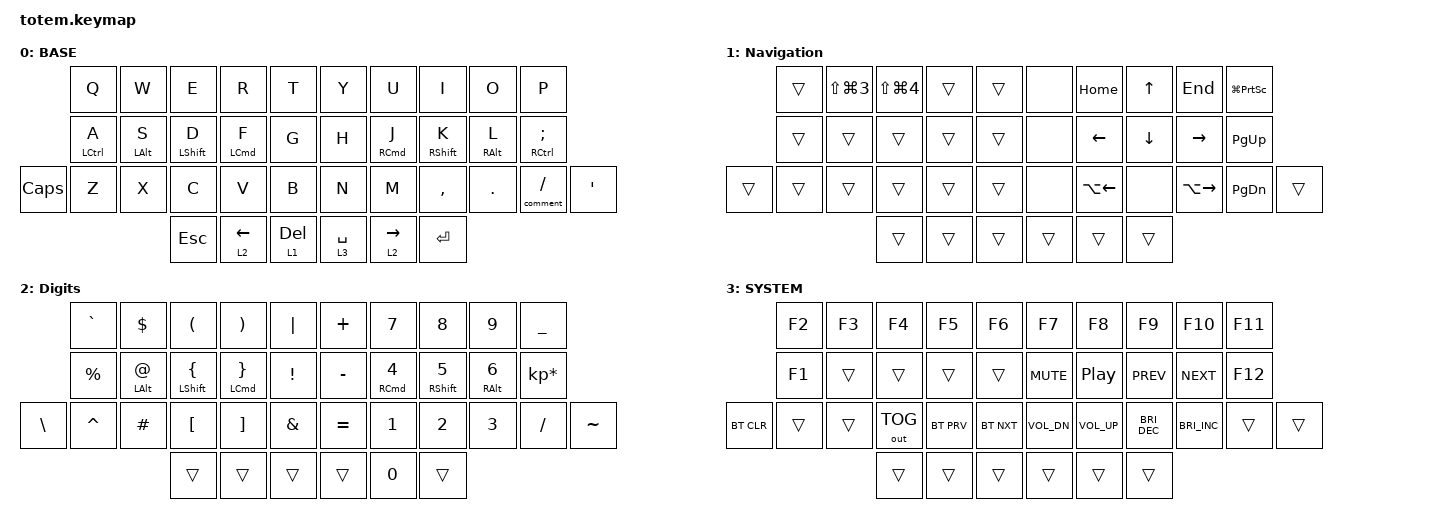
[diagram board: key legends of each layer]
//
//                                                        ▀▀▀▀▀     ▀▀▀▀▀          ▀▀█▀▀
//                                                        ▄▀▀▀▄  ▄  ▄▀▀▀▄  ▄  ▄▀▀▀▄  █  ▄▀▀▀▄
//                                                        █   █  █  █   █  █  █   █  █  █   █
//                                                         ▀▀▀   █   ▀▀▀   █   ▀▀▀   ▀   ▀▀▀
//                                                               █      ▄▄▄█▄▄▄    █   █
//                                                               ▀      █  █  █     █▄█
//                                                             ▀▀▀▀▀    █  █  █      ▀
//                                                                      ▀  ▀  ▀
//
// ▄▄▄▄▄▄▄▄▄▄▄▄▄▄▄▄▄▄▄▄▄▄▄▄▄▄▄▄▄▄▄▄▄▄▄▄▄▄▄▄▄▄▄▄▄▄▄▄▄▄▄▄▄▄▄▄▄▄▄▄▄▄▄▄▄▄▄▄▄▄▄▄▄▄▄▄▄▄▄▄▄▄▄▄▄▄▄▄▄▄▄▄▄▄▄▄▄▄▄▄▄▄▄▄▄▄▄▄▄▄▄▄▄▄▄▄▄▄▄▄▄▄▄▄▄▄▄▄▄▄▄▄▄▄▄▄▄▄▄▄▄▄▄▄▄▄▄▄▄

#include "zmk-helpers/helper.h"
#include "zmk-helpers/key-labels/totem.h"
#include <behaviors.dtsi>
#include <dt-bindings/zmk/bt.h>
#include <dt-bindings/zmk/keys.h>
#include <dt-bindings/zmk/outputs.h>

#define BASE 0
#define NAV  1
#define DIG  2
#define SYS  3
#define QUICK_TAP_MS 175

/* Timeless homerow mods */
// https://github.com/urob/zmk-config/tree/main#timeless-homerow-mods

#define KEYS_L LT0 LT1 LT2 LT3 LT4 LM0 LM1 LM2 LM3 LM4 LB0 LB1 LB2 LB3 LB4 LB5  // left hand
#define KEYS_R RT0 RT1 RT2 RT3 RT4 RM0 RM1 RM2 RM3 RM4 RB0 RB1 RB2 RB3 RB4 RB5  // right hand
#define THUMBS LH2 LH1 LH0 RH0 RH1 RH2 // thumb cluster for both hands

// proper urob's home row, uncomment it if you are not going to use visual editor
//#define MAKE_HRM(NAME, HOLD, TAP, TRIGGER_POS) \
//    ZMK_HOLD_TAP(NAME, \
//        flavor = "balanced"; \
//        tapping-term-ms = <280>; \
//        quick-tap-ms = <QUICK_TAP_MS>; \
//        require-prior-idle-ms = <150>; \
//        bindings = <HOLD>, <TAP>; \
//        hold-trigger-key-positions = <TRIGGER_POS>; \
//        hold-trigger-on-release; \
//    )
//
//MAKE_HRM(hml, &kp, &kp, KEYS_R THUMBS)  // left-hand HRMs
//MAKE_HRM(hmr, &kp, &kp, KEYS_L THUMBS)  // right-hand HRMs
//MAKE_HRM(hml_layer, &mo, &kp, KEYS_R THUMBS) // switch layer like HRM

&mt {
    quick-tap-ms = <100>;
    global-quick-tap;
    flavor = "tap-preferred";
    tapping-term-ms = <170>;
};

/ {
    combos {
        compatible = "zmk,combos";

        backspace {
            bindings = <&kp BACKSPACE>;
            key-positions = <16 17>;
            timeout-ms = <70>;
        };

        go_forward {
            bindings = <&kp LA(RIGHT)>;
            key-positions = <16 17 18>;
            timeout-ms = <70>;
        };

        tab {
            bindings = <&kp TAB>;
            key-positions = <13 12>;
            timeout-ms = <70>;
        };

        go_backward {
            bindings = <&kp LA(LEFT)>;
            key-positions = <11 12 13>;
            timeout-ms = <70>;
        };
    };

    macros {
        /**
         * Temporarily switches to a layer (`&mo`) while a modifier is held.
         * Analogous to QMK's `LM()`, using a parameterized macro.
         *
         * Params:
         *  1. Layer to switch to
         *  2. Modifier to press while layer is active
         *
         * Example:
         *  `&lm NUM_LAYER LSHIFT`
         */

        lm: lm {
            compatible = "zmk,behavior-macro-two-param";
            wait-ms = <0>;
            tap-ms = <0>;
            #binding-cells = <2>;
            bindings =
                <&macro_param_1to1>,
                <&macro_press>,
                <&mo MACRO_PLACEHOLDER &macro_param_2to1>,
                <&macro_press>,
                <&kp MACRO_PLACEHOLDER>,
                <&macro_pause_for_release>,
                <&macro_param_2to1>,
                <&macro_release>,
                <&kp MACRO_PLACEHOLDER &macro_param_1to1>,
                <&macro_release>,
                <&mo MACRO_PLACEHOLDER>;
        };

        press_two_keys: press_two_keys {
            compatible = "zmk,behavior-macro-two-param";
            wait-ms = <0>;
            tap-ms = <0>;
            #binding-cells = <2>;
            bindings =
                <&macro_param_1to1>,
                <&macro_tap>,
                <&kp MACRO_PLACEHOLDER &macro_param_2to1>,
                <&macro_tap>,
                <&kp MACRO_PLACEHOLDER>;
        };

        more_or_equal: more_or_equal {
            compatible = "zmk,behavior-macro";
            #binding-cells = <0>;
            bindings = <&kp MINUS &kp GT>;
            label = "MORE_OR_EQUAL";
        };

        less_or_equal: less_or_equal {
            compatible = "zmk,behavior-macro";
            #binding-cells = <0>;
            bindings = <&kp LT &kp EQUAL>;
            label = "LESS_OR_EQUAL";
        };

        fun_arrow_right: fun_arrow_right {
            compatible = "zmk,behavior-macro";
            #binding-cells = <0>;
            bindings = <&kp MINUS &kp GT>;
            label = "FUN_ARROW_RIGHT";
        };

        comment: comment {
            compatible = "zmk,behavior-macro";
            #binding-cells = <0>;
            bindings = <&kp FSLH &kp STAR>;
            label = "MACROS_COMMENT";
        };
    };

    behaviors {
        // this is homerow mod that works identical to urob's one, but this one allows visual editor to understand

        hml: hml {
            compatible = "zmk,behavior-hold-tap";
            label = "HML";
            bindings = <&kp>, <&kp>;

            #binding-cells = <2>;
            tapping-term-ms = <280>;
            quick-tap-ms = <175>;
            require-prior-idle-ms = <150>;
            flavor = "balanced";
            hold-trigger-key-positions = <KEYS_R THUMBS>;
            hold-trigger-on-release;
        };

        hmr: hmr {
            compatible = "zmk,behavior-hold-tap";
            label = "HMR";
            bindings = <&kp>, <&kp>;

            #binding-cells = <2>;
            tapping-term-ms = <280>;
            quick-tap-ms = <175>;
            require-prior-idle-ms = <150>;
            flavor = "balanced";
            hold-trigger-key-positions = <KEYS_L THUMBS>;
            hold-trigger-on-release;
        };

        comment_or: comment_or {
            compatible = "zmk,behavior-hold-tap";
            label = "slash_or_comm";
            bindings = <&comment>, <&kp>;

            #binding-cells = <2>;
            tapping-term-ms = <200>;
            flavor = "tap-preferred";
        };
    };

    keymap {
        compatible = "zmk,keymap";

        QWERTY {
            label = "BASE";
            bindings = <
              &kp Q                &kp W        &kp E         &kp R                &kp T           &kp Y        &kp U                 &kp I         &kp O             &kp P
              &hml LEFT_CONTROL A  &hml LALT S  &hml LSHFT D  &hml LEFT_COMMAND F  &kp G           &kp H        &hmr RIGHT_COMMAND J  &hmr RSHFT K  &hmr RIGHT_ALT L  &hmr RIGHT_CONTROL SEMICOLON
&kp CAPSLOCK  &kp Z                &kp X        &kp C         &kp V                &kp B           &kp N        &kp M                 &kp COMMA     &kp DOT           &comment_or 0 SLASH           &kp SINGLE_QUOTE
                                                &kp ESC       &lt 2 LEFT_ARROW     &lt 1 DELETE    &lt 3 SPACE  &lt 2 RIGHT           &kp ENTER
            >;
        };

        Navigation {
            label = "Navigation";
            bindings = <
        &trans  &kp LS(LG(NUMBER_3))  &kp LS(LG(NUMBER_4))  &trans  &trans    &none   &kp HOME      &kp UP    &kp END        &kp LG(PRINTSCREEN)
        &trans  &trans                &trans                &trans  &trans    &none   &kp LEFT      &kp DOWN  &kp RIGHT      &kp PG_UP
&trans  &trans  &trans                &trans                &trans  &trans    &none   &kp LA(LEFT)  &none     &kp LA(RIGHT)  &kp PAGE_DOWN        &trans
                                      &trans                &trans  &trans    &trans  &trans        &trans
            >;
        };

        digits {
            label = "Digits";
            bindings = <
               &kp GRAVE  &kp DOLLAR             &kp LEFT_PARENTHESIS   &kp RIGHT_PARENTHESIS          &kp PIPE         &kp PLUS   &kp N7                       &kp N8          &kp N9        &kp UNDER
               &kp PRCNT  &hml LEFT_ALT AT_SIGN  &hml LSHFT LEFT_BRACE  &hml LEFT_COMMAND RIGHT_BRACE  &kp EXCL         &kp MINUS  &hmr RIGHT_COMMAND NUMBER_4  &hmr RSHIFT N5  &hmr RALT N6  &kp KP_MULTIPLY
&kp BACKSLASH  &kp CARET  &kp HASH               &kp LEFT_BRACKET       &kp RIGHT_BRACKET              &kp AMPERSAND    &kp EQUAL  &kp N1                       &kp N2          &kp N3        &kp SLASH        &kp TILDE
                                                 &trans                 &trans                         &trans           &trans     &kp N0                       &trans
            >;
        };

        sim_layer {
            label = "SYSTEM";
            bindings = <
            &kp F2  &kp F3  &kp F4        &kp F5      &kp F6        &kp F7        &kp F8        &kp F9                &kp F10               &kp F11
            &kp F1  &trans  &trans        &trans      &trans        &kp C_MUTE    &kp C_PP      &kp C_PREV            &kp C_NEXT            &kp F12
&bt BT_CLR  &trans  &trans  &out OUT_TOG  &bt BT_PRV  &bt BT_NXT    &kp C_VOL_DN  &kp C_VOL_UP  &kp C_BRIGHTNESS_DEC  &kp C_BRIGHTNESS_INC  &trans   &trans
                            &trans        &trans      &trans        &trans        &trans        &trans
            >;
        };
    };
};
